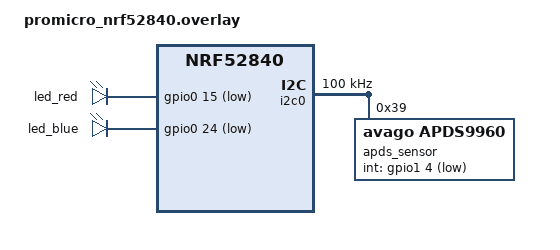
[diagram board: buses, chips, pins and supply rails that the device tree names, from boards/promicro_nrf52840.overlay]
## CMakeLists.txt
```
# SPDX-License-Identifier: Apache-2.0

cmake_minimum_required(VERSION 3.20.0)
find_package(Zephyr REQUIRED HINTS $ENV{ZEPHYR_BASE})

project(usb_comm)

include(${ZEPHYR_BASE}/samples/subsys/usb/common/common.cmake)

FILE(GLOB app_sources 
    src/*.c
    src/comm/*.c
    src/user_app/*.c
)

if(CONFIG_APDS9960)
    target_sources(app PRIVATE src/sensor/apds9960.c)
    include_directories(app PRIVATE src/sensor)
endif()

target_sources(app PRIVATE ${app_sources})

include_directories(app PRIVATE
    src/comm
    src/user_app
)
```

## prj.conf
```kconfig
CONFIG_STDOUT_CONSOLE=y
CONFIG_USB_DEVICE_STACK=y
CONFIG_USB_DEVICE_PRODUCT="Zephyr CDC ACM sample"
CONFIG_USB_DEVICE_PID=0x1232
CONFIG_USB_DRIVER_LOG_LEVEL_ERR=y
CONFIG_USB_DEVICE_LOG_LEVEL_ERR=y
CONFIG_USB_DEVICE_INITIALIZE_AT_BOOT=n

CONFIG_LOG=y
CONFIG_LOG_MODE_IMMEDIATE=y
CONFIG_SERIAL=y
CONFIG_UART_INTERRUPT_DRIVEN=y
CONFIG_UART_LINE_CTRL=y
CONFIG_GPIO=y
```

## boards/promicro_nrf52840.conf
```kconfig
CONFIG_FLASH_LOAD_OFFSET=0x0

CONFIG_I2C=y
CONFIG_SENSOR=y
CONFIG_HEAP_MEM_POOL_SIZE=16384
# CONFIG_APDS9960_TRIGGER_GLOBAL_THREAD=y
```

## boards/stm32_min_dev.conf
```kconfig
# CONFIG_PRINTK=n
# CONFIG_LOG=n
# CONFIG_BOOT_BANNER=n
# CONFIG_THREAD_MONITOR=n
# CONFIG_ASSERT=n
# CONFIG_STACK_SENTINEL=n
# CONFIG_STACK_USAGE=n
```

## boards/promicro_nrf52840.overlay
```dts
/ {
    chosen {
        zephyr,console = &uart0;
    };
    
    aliases {
        led0 = &led_red;
        led1 = &led_blue;
    };

    leds {
        led_red: led_red {
            gpios = <&gpio0 15 GPIO_ACTIVE_LOW>;
        };

        led_blue: led_blue {
            gpios = <&gpio0 24 GPIO_ACTIVE_LOW>;
        };
    };
};

&i2c0 {
	clock-frequency = <I2C_BITRATE_STANDARD>;

	apds_sensor: sensor@39 {
        compatible = "avago,apds9960";
        status = "okay";
        reg = <0x39>;
        int-gpios = <&gpio1 4 GPIO_ACTIVE_LOW>;
    };
};
```

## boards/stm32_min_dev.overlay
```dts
/ {
	leds {
		ledblue: ledblue {
			gpios = <&gpioa 1 GPIO_ACTIVE_HIGH>;
		};
		ledred: ledred {
			gpios = <&gpioa 0 GPIO_ACTIVE_HIGH>;
		};
	};

	aliases {
		led0 = &ledblue;
		led1 = &ledred;
	};
};

&zephyr_udc0 {
	cdc_acm_uart0 {
		compatible = "zephyr,cdc-acm-uart";
		label = "Zephyr USB CDC-ACM";
	};
};
```

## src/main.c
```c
/*
 * Copyright (c) 2019 Intel Corporation
 *
 * SPDX-License-Identifier: Apache-2.0
 */

/**
 * @file
 * @brief Sample echo app for CDC ACM class
 *
 * Sample app for USB CDC ACM class driver. The received data is echoed back
 * to the serial port.
 */

#include <sample_usbd.h>

#include <stdio.h>
#include <string.h>
#include <zephyr/device.h>
#include <zephyr/drivers/uart.h>
#include <zephyr/kernel.h>
#include <zephyr/sys/ring_buffer.h>

#include <zephyr/usb/usb_device.h>
#include <zephyr/usb/usbd.h>
#include <zephyr/logging/log.h>
#include <zephyr/drivers/gpio.h>

#include "usb_comm.h"
#include "sys_app.h"

#ifdef CONFIG_APDS9960
#include "apds9960.h"
#endif

LOG_MODULE_REGISTER(main, LOG_LEVEL_DBG);

#define	LEDBLUE_NODE	DT_ALIAS(led0)
#define	LEDRED_NODE		DT_ALIAS(led1)

void timer_tick_cb(struct k_timer *timer)
{
	struct priv_data *data = k_timer_user_data_get(timer); 
	gpio_pin_toggle_dt(data->led_blue);
	// gpio_pin_toggle_dt(data->led_red);
}

static struct priv_data data;

K_TIMER_DEFINE(timerTick, timer_tick_cb, NULL);

int main(void)
{
	struct priv_data data;
	int ret;
	struct gpio_dt_spec led_blue = GPIO_DT_SPEC_GET(LEDBLUE_NODE, gpios);
	struct gpio_dt_spec led_red = GPIO_DT_SPEC_GET(LEDRED_NODE, gpios);

	if (!gpio_is_ready_dt(&led_blue)) {
		LOG_ERR("Failed to get GPIO DT!\n");
		return 1;
	}

	data.led_blue = &led_blue;
	data.led_red = &led_red;

	ret = gpio_pin_configure_dt(&led_blue, GPIO_OUTPUT_ACTIVE);
	if (ret < 0) {
		return 1;
	}
	ret = gpio_pin_configure_dt(&led_red, GPIO_OUTPUT_ACTIVE);
	if (ret < 0) {
		return 1;
	}

	ret = usb_comm_init();
	if (ret < 0) {
		LOG_ERR("Failed to init usb com!\n");
		return 1;
	}

	k_timer_user_data_set(&timerTick, &data);
	k_timer_start(&timerTick, K_MSEC(500), K_MSEC(500));

#ifdef CONFIG_APDS9960
	ret = apds9960_init();
	if (ret != 0) {
		LOG_ERR("Failed to init apds sensor!\n");
	}
#endif

	main_app_init(NULL);

	while(true) 
	{
		main_app_run(&data);
	}

	return 0;
}
```
